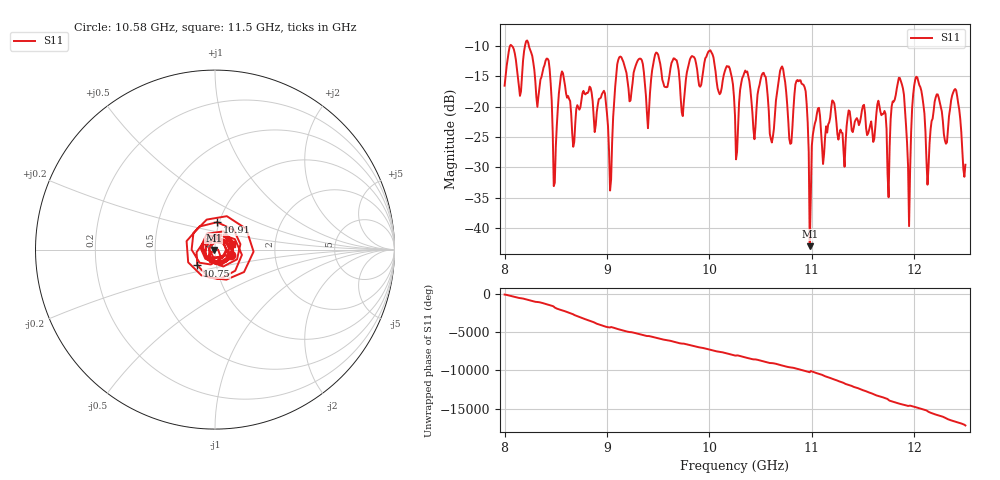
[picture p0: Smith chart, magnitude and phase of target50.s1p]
#  HZ  S  RI  R  50.00
! Rohde & Schwarz Vector Network Analyzer
! Rohde-Schwarz,ZNA43-4Port,1332450044101932,2.92
! Created: UTC 6/9/2026, 6:45:26 AM
! freq[Hz]  re:S11  im:S11
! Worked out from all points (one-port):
!   451 points, 8 GHz to 12.5 GHz, reference 50 ohm
!   lowest |S11| = -43.0 dB at 10.98 GHz (marker M1), VSWR 1.01, Z = 49.3 - j0.262 ohm
!   |S11| at or under -10 dB: start of sweep to 8.051 GHz; 8.073 GHz to 8.199 GHz (125.5 MHz wide, 1.54 % of centre); 8.238 GHz to end of sweep
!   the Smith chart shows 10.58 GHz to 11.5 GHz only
!   S11 on the Smith chart (normalised r, x): 10.58 GHz: 1.19, -0.07; 10.75 GHz: 0.81, -0.15; 10.91 GHz: 0.98, +0.31; 11.5 GHz: 1.21, +0.07
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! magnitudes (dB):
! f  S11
! 8 GHz  -16.5
! 8.42 GHz  -12.1
! 8.49 GHz  -32.6
! 8.57 GHz  -14.5
! 8.67 GHz  -26.6
! 8.97 GHz  -17.4
! 9.03 GHz  -33.8
! 9.13 GHz  -11.7
! 9.4 GHz  -23.5
! 9.69 GHz  -13.0
! 10.18 GHz  -13.4
! 10.25 GHz  -21.5
! 10.35 GHz  -14.0
! 10.58 GHz  -20.7
! 10.75 GHz  -17.6
! 10.82 GHz  -20.5
! 10.91 GHz  -16.3
! 10.98 GHz  -43.0
! 11.06 GHz  -20.3
! 11.38 GHz  -22.1
! 11.5 GHz  -19.8
! 11.75 GHz  -34.9
! 11.87 GHz  -15.8
! 11.94 GHz  -29.7
! 12.03 GHz  -15.1
! 12.13 GHz  -32.9
! 12.4 GHz  -17.1
! 12.5 GHz  -29.6
